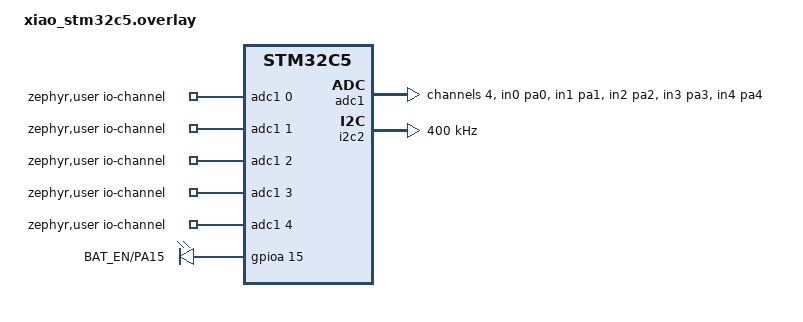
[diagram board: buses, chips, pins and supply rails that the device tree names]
/* MicroPython-specific XIAO STM32C5 resources. */
#include <zephyr/dt-bindings/adc/adc.h>

/ {
    zephyr,user {
        io-channels = <&adc1 0>, <&adc1 1>, <&adc1 2>, <&adc1 3>, <&adc1 4>;
    };

    battery_adc_ctrl {
        compatible = "gpio-leds";

        bat_en: bat_en {
            /* BAT_EN moved to PA15 on the board revision that wired D8
             * to PE2 (SPI3_SCK); PE2 previously carried this control. */
            gpios = <&gpioa 15 GPIO_ACTIVE_HIGH>;
            label = "BAT_EN/PA15";
        };
    };

    aliases {
        baten = &bat_en;
    };
};

&adc1 {
    pinctrl-0 = <&adc1_in0_pa0 &adc1_in1_pa1 &adc1_in2_pa2
                 &adc1_in3_pa3 &adc1_in4_pa4>;
    pinctrl-names = "default";
    vref-mv = <3300>;
    status = "okay";

    channel@4 {
        reg = <4>;
        zephyr,gain = "ADC_GAIN_1";
        zephyr,reference = "ADC_REF_INTERNAL";
        zephyr,acquisition-time = <ADC_ACQ_TIME(ADC_ACQ_TIME_TICKS, 289)>;
        zephyr,resolution = <12>;
    };
};

/* Bump I2C2 to 400 kHz so IMU reads and bus scans complete faster. */
&i2c2 {
    clock-frequency = <I2C_BITRATE_FAST>;
};
